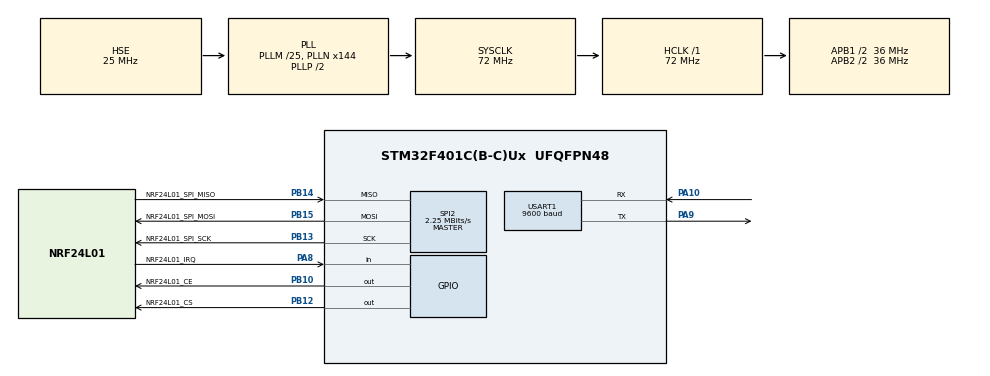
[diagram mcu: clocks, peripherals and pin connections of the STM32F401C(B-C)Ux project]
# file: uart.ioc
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Mcu.Family=STM32F4
Mcu.Name=STM32F401C(B-C)Ux
Mcu.Package=UFQFPN48
NVIC.PriorityGroup=NVIC_PRIORITYGROUP_4
PA10.Mode=Asynchronous
PA10.Signal=USART1_RX
PA8.GPIO_Label=NRF24L01_IRQ
PA8.Signal=GPIO_Input
PA9.Mode=Asynchronous
PA9.Signal=USART1_TX
PB10.GPIO_Label=NRF24L01_CE
PB10.Signal=GPIO_Output
PB12.GPIO_Label=NRF24L01_CS
PB12.Signal=GPIO_Output
PB13.GPIO_Label=NRF24L01_SPI_SCK
PB13.Mode=Full_Duplex_Master
PB13.Signal=SPI2_SCK
PB14.GPIO_Label=NRF24L01_SPI_MISO
PB14.Mode=Full_Duplex_Master
PB14.Signal=SPI2_MISO
PB15.GPIO_Label=NRF24L01_SPI_MOSI
PB15.Mode=Full_Duplex_Master
PB15.Signal=SPI2_MOSI
PH0\ -\ OSC_IN.Mode=HSE-External-Oscillator
PH0\ -\ OSC_IN.Signal=RCC_OSC_IN
PH1\ -\ OSC_OUT.Mode=HSE-External-Oscillator
PH1\ -\ OSC_OUT.Signal=RCC_OSC_OUT
ProjectManager.HeapSize=0x200
ProjectManager.StackSize=0x400
ProjectManager.TargetToolchain=Makefile
RCC.48MHZClocksFreq_Value=36000000
RCC.AHBFreq_Value=72000000
RCC.APB1CLKDivider=RCC_HCLK_DIV2
RCC.APB1Freq_Value=36000000
RCC.APB1TimFreq_Value=72000000
RCC.APB2CLKDivider=RCC_HCLK_DIV2
RCC.APB2Freq_Value=36000000
RCC.APB2TimFreq_Value=72000000
RCC.CortexFreq_Value=72000000
RCC.HCLKFreq_Value=72000000
RCC.HSE_VALUE=25000000
RCC.HSI_VALUE=16000000
RCC.LSE_VALUE=32768
RCC.PLLM=25
RCC.PLLN=144
RCC.PLLSourceVirtual=RCC_PLLSOURCE_HSE
RCC.SYSCLKFreq_VALUE=72000000
RCC.SYSCLKSource=RCC_SYSCLKSOURCE_PLLCLK
RCC.VCOOutputFreq_Value=144000000
SPI2.BaudRatePrescaler=SPI_BAUDRATEPRESCALER_16
SPI2.CalculateBaudRate=2.25 MBits/s
SPI2.Direction=SPI_DIRECTION_2LINES
SPI2.Mode=SPI_MODE_MASTER
SPI2.VirtualType=VM_MASTER
USART1.BaudRate=9600
USART1.VirtualMode=VM_ASYNC
board=custom

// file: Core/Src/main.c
/* USER CODE BEGIN Header */
/**
  ******************************************************************************
  * @file           : main.c
  * @brief          : Main program body
  ******************************************************************************
  * @attention
  *
  * <h2><center>&copy; Copyright (c) 2021 STMicroelectronics.
  * All rights reserved.</center></h2>
  *
  * This software component is licensed by ST under BSD 3-Clause license,
  * the "License"; You may not use this file except in compliance with the
  * License. You may obtain a copy of the License at:
  *                        opensource.org/licenses/BSD-3-Clause
  *
  ******************************************************************************
  */
/* USER CODE END Header */
#include "main.h"
#include "spi.h"
#include "usart.h"
#include "gpio.h"

/* USER CODE BEGIN Includes */
#include "NRF24L01.h"
/* USER CODE END Includes */

/* USER CODE BEGIN PM */
uint8_t tx_buf[33] = "test";
uint8_t rx_buf[33];
/* USER CODE END PM */

void SystemClock_Config(void);

int main(void)
{

  /* MCU Configuration--------------------------------------------------------*/

  /* Reset of all peripherals, Initializes the Flash interface and the Systick. */
  HAL_Init();

  /* Configure the system clock */
  SystemClock_Config();

  /* Initialize all configured peripherals */
  MX_GPIO_Init();
  MX_USART1_UART_Init();
  MX_SPI2_Init();
  /* USER CODE BEGIN 2 */

  while(NRF24L01_Check())
	{
    printf("Can not find NRF24L01!\r\n");
		HAL_Delay(1000);
	}
  printf("Connect to NRF24L01 Successfully!\r\n");
  //NRF24L01_RX_Mode_Master();

  /* USER CODE END 2 */

  /* Infinite loop */
  while (1)
  {

    /* USER CODE BEGIN 3 */

    //master
    //先处在TX_Mode,TX_Mode要可以选择通过哪个通道发送
    //发送成功后处于RX_Mode，RX_Mode要可以打印出接收的通道来源
    //接收成功后继续变为TX_Mode，重复上述过程
    for(uint8_t i=0;i<4;i++)
    {
      NRF24L01_TX_Mode(i);
      if(NRF24L01_TxPacket(tx_buf)==TX_OK)
      {
        printf("Channel %d select successfully!/r/n",i);
      }
      else
      {
        printf("Channel %d select fail!\r\n",i);
        HAL_Delay(1000);
      }
      NRF24L01_RX_Mode(0);
      if(NRF24L01_RxPacket(rx_buf)==0)
      {
        printf("Channel %d receive:%s\r\n",i,rx_buf);
        HAL_Delay(1000);
      }
      else
      {
        printf("Channel %d rx fail!\r\n",i);
      }
    }

    /*Master RX Mode*/
    /*
      if(NRF24L01_RxPacket(rx_buf)==0)
      {
        printf("Rx_buf:%s\r\n",i,rx_buf);
        HAL_Delay(1000);
      }
      else
      {
        printf("Rx_buf receive fail!\r\n",i);
      }
    */

  }
  /* USER CODE END 3 */
}

void SystemClock_Config(void)
{
  RCC_OscInitTypeDef RCC_OscInitStruct = {0};
  RCC_ClkInitTypeDef RCC_ClkInitStruct = {0};

  /** Configure the main internal regulator output voltage
  */
  __HAL_RCC_PWR_CLK_ENABLE();
  __HAL_PWR_VOLTAGESCALING_CONFIG(PWR_REGULATOR_VOLTAGE_SCALE2);
  /** Initializes the RCC Oscillators according to the specified parameters
  * in the RCC_OscInitTypeDef structure.
  */
  RCC_OscInitStruct.OscillatorType = RCC_OSCILLATORTYPE_HSE;
  RCC_OscInitStruct.HSEState = RCC_HSE_ON;
  RCC_OscInitStruct.PLL.PLLState = RCC_PLL_ON;
  RCC_OscInitStruct.PLL.PLLSource = RCC_PLLSOURCE_HSE;
  RCC_OscInitStruct.PLL.PLLM = 25;
  RCC_OscInitStruct.PLL.PLLN = 144;
  RCC_OscInitStruct.PLL.PLLP = RCC_PLLP_DIV2;
  RCC_OscInitStruct.PLL.PLLQ = 4;
  if (HAL_RCC_OscConfig(&RCC_OscInitStruct) != HAL_OK)
  {
    Error_Handler();
  }
  /** Initializes the CPU, AHB and APB buses clocks
  */
  RCC_ClkInitStruct.ClockType = RCC_CLOCKTYPE_HCLK|RCC_CLOCKTYPE_SYSCLK
                              |RCC_CLOCKTYPE_PCLK1|RCC_CLOCKTYPE_PCLK2;
  RCC_ClkInitStruct.SYSCLKSource = RCC_SYSCLKSOURCE_PLLCLK;
  RCC_ClkInitStruct.AHBCLKDivider = RCC_SYSCLK_DIV1;
  RCC_ClkInitStruct.APB1CLKDivider = RCC_HCLK_DIV2;
  RCC_ClkInitStruct.APB2CLKDivider = RCC_HCLK_DIV2;

  if (HAL_RCC_ClockConfig(&RCC_ClkInitStruct, FLASH_LATENCY_2) != HAL_OK)
  {
    Error_Handler();
  }
}

void Error_Handler(void)
{
  __disable_irq();
  while (1)
  {
  }
}

/************************ (C) COPYRIGHT STMicroelectronics *****END OF FILE****/
